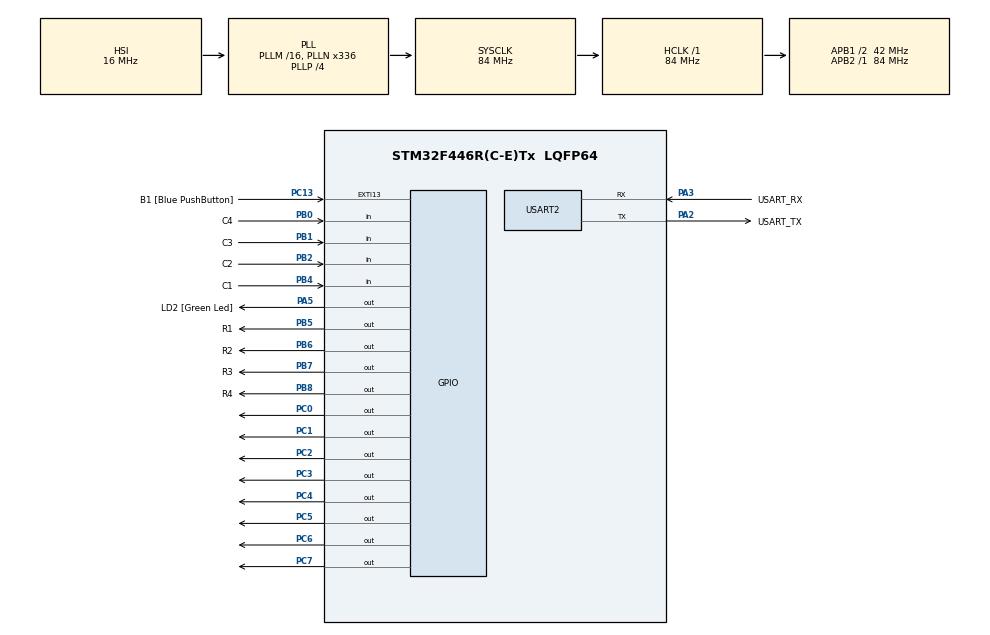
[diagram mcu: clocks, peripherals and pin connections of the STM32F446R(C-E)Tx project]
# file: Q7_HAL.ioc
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Mcu.Family=STM32F4
Mcu.Name=STM32F446R(C-E)Tx
Mcu.Package=LQFP64
NVIC.PriorityGroup=NVIC_PRIORITYGROUP_0
PA13.GPIO_Label=TMS
PA13.Mode=Serial_Wire
PA13.Signal=SYS_JTMS-SWDIO
PA14.GPIO_Label=TCK
PA14.Mode=Serial_Wire
PA14.Signal=SYS_JTCK-SWCLK
PA2.GPIO_Label=USART_TX
PA2.Mode=Asynchronous
PA2.Signal=USART2_TX
PA3.GPIO_Label=USART_RX
PA3.Mode=Asynchronous
PA3.Signal=USART2_RX
PA5.GPIO_Label=LD2 [Green Led]
PA5.Signal=GPIO_Output
PB0.GPIO_Label=C4
PB0.GPIO_PuPd=GPIO_PULLUP
PB0.Signal=GPIO_Input
PB1.GPIO_Label=C3
PB1.GPIO_PuPd=GPIO_PULLUP
PB1.Signal=GPIO_Input
PB2.GPIO_Label=C2
PB2.GPIO_PuPd=GPIO_PULLUP
PB2.Signal=GPIO_Input
PB3.Signal=SYS_JTDO-SWO
PB4.GPIO_Label=C1
PB4.GPIO_PuPd=GPIO_PULLUP
PB4.Signal=GPIO_Input
PB5.GPIO_Label=R1
PB5.Signal=GPIO_Output
PB6.GPIO_Label=R2
PB6.Signal=GPIO_Output
PB7.GPIO_Label=R3
PB7.Signal=GPIO_Output
PB8.GPIO_Label=R4
PB8.Signal=GPIO_Output
PC0.Signal=GPIO_Output
PC1.Signal=GPIO_Output
PC13.GPIO_Label=B1 [Blue PushButton]
PC13.GPIO_ModeDefaultEXTI=GPIO_MODE_IT_FALLING
PC13.Signal=GPXTI13
PC14-OSC32_IN.Mode=LSE-External-Oscillator
PC14-OSC32_IN.Signal=RCC_OSC32_IN
PC15-OSC32_OUT.Mode=LSE-External-Oscillator
PC15-OSC32_OUT.Signal=RCC_OSC32_OUT
PC2.Signal=GPIO_Output
PC3.Signal=GPIO_Output
PC4.Signal=GPIO_Output
PC5.Signal=GPIO_Output
PC6.Signal=GPIO_Output
PC7.Signal=GPIO_Output
PH0-OSC_IN.Mode=HSE-External-Oscillator
PH0-OSC_IN.Signal=RCC_OSC_IN
PH1-OSC_OUT.Mode=HSE-External-Oscillator
PH1-OSC_OUT.Signal=RCC_OSC_OUT
ProjectManager.HeapSize=0x200
ProjectManager.StackSize=0x400
ProjectManager.TargetToolchain=STM32CubeIDE
RCC.48MHZClocksFreq_Value=84000000
RCC.AHBFreq_Value=84000000
RCC.APB1CLKDivider=RCC_HCLK_DIV2
RCC.APB1Freq_Value=42000000
RCC.APB1TimFreq_Value=84000000
RCC.APB2Freq_Value=84000000
RCC.APB2TimFreq_Value=84000000
RCC.CortexFreq_Value=84000000
RCC.FLatency-AdvancedSettings=FLASH_LATENCY_2
RCC.HCLKFreq_Value=84000000
RCC.HSE_VALUE=8000000
RCC.HSI_VALUE=16000000
RCC.PLLN=336
RCC.PLLP=RCC_PLLP_DIV4
RCC.SYSCLKFreq_VALUE=84000000
RCC.SYSCLKSource=RCC_SYSCLKSOURCE_PLLCLK
RCC.USBFreq_Value=168000000
RCC.VCOOutputFreq_Value=336000000
USART2.VirtualMode=VM_ASYNC
board=NUCLEO-F446RE

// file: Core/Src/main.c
/* USER CODE BEGIN Header */
/**
  ******************************************************************************
  * @file           : main.c
  * @brief          : Main program body
  ******************************************************************************
  * @attention
  *
  * Copyright (c) 2024 STMicroelectronics.
  * All rights reserved.
  *
  * This software is licensed under terms that can be found in the LICENSE file
  * in the root directory of this software component.
  * If no LICENSE file comes with this software, it is provided AS-IS.
  *
  ******************************************************************************
  */
/* USER CODE END Header */
#include "main.h"

UART_HandleTypeDef huart2;

void SystemClock_Config(void);
static void MX_GPIO_Init(void);
static void MX_USART2_UART_Init(void);

void blink(int key)
{
	for (int var = 0; var < 2*key; ++var)
	{
		HAL_GPIO_TogglePin(LD2_GPIO_Port, LD2_Pin);
		HAL_Delay(300);
	}
}
int main(void)
{

  /* MCU Configuration--------------------------------------------------------*/

  /* Reset of all peripherals, Initializes the Flash interface and the Systick. */
  HAL_Init();

  /* Configure the system clock */
  SystemClock_Config();

  /* Initialize all configured peripherals */
  MX_GPIO_Init();
  MX_USART2_UART_Init();
  /* USER CODE BEGIN 2 */
void seven_Seg(int key)
{
	switch (key) {
		  		case 0 :
		  		  HAL_GPIO_WritePin(GPIOC, GPIO_PIN_0, SET);
		  		  HAL_GPIO_WritePin(GPIOC, GPIO_PIN_1, SET);
		  		  HAL_GPIO_WritePin(GPIOC, GPIO_PIN_2, SET);
		  		  HAL_GPIO_WritePin(GPIOC, GPIO_PIN_3, SET);
		  		  HAL_GPIO_WritePin(GPIOC, GPIO_PIN_4, SET);
		  		  HAL_GPIO_WritePin(GPIOC, GPIO_PIN_5, SET);
		  		  HAL_GPIO_WritePin(GPIOC, GPIO_PIN_6, RESET);
		  			break;
		  		case 1 :
		  		  HAL_GPIO_WritePin(GPIOC, GPIO_PIN_0, RESET);
		  		  HAL_GPIO_WritePin(GPIOC, GPIO_PIN_1, SET);
		  		  HAL_GPIO_WritePin(GPIOC, GPIO_PIN_2, SET);
		  		  HAL_GPIO_WritePin(GPIOC, GPIO_PIN_3, RESET);
		  		  HAL_GPIO_WritePin(GPIOC, GPIO_PIN_4, RESET);
		  		  HAL_GPIO_WritePin(GPIOC, GPIO_PIN_5, RESET);
		  		  HAL_GPIO_WritePin(GPIOC, GPIO_PIN_6, RESET);
		  		  HAL_GPIO_WritePin(GPIOC, GPIO_PIN_7, RESET);
		  			break;
		  		case 2:
		  		  HAL_GPIO_WritePin(GPIOC, GPIO_PIN_0, SET);
		  		  HAL_GPIO_WritePin(GPIOC, GPIO_PIN_1, SET);
		  		  HAL_GPIO_WritePin(GPIOC, GPIO_PIN_2, RESET);
		  		  HAL_GPIO_WritePin(GPIOC, GPIO_PIN_3, SET);
		  		  HAL_GPIO_WritePin(GPIOC, GPIO_PIN_4, SET);
		  		  HAL_GPIO_WritePin(GPIOC, GPIO_PIN_5, RESET);
		  		  HAL_GPIO_WritePin(GPIOC, GPIO_PIN_6, SET);
		  		  HAL_GPIO_WritePin(GPIOC, GPIO_PIN_7, SET);

		  			break;
		  		case 3:
		  		  HAL_GPIO_WritePin(GPIOC, GPIO_PIN_0, SET);
		  		  HAL_GPIO_WritePin(GPIOC, GPIO_PIN_1, SET);
		  		  HAL_GPIO_WritePin(GPIOC, GPIO_PIN_2, SET);
		  		  HAL_GPIO_WritePin(GPIOC, GPIO_PIN_3, SET);
		  		  HAL_GPIO_WritePin(GPIOC, GPIO_PIN_4, RESET);
		  		  HAL_GPIO_WritePin(GPIOC, GPIO_PIN_5, RESET);
		  		  HAL_GPIO_WritePin(GPIOC, GPIO_PIN_6, SET);
		  		  HAL_GPIO_WritePin(GPIOC, GPIO_PIN_7, SET);
		  			break;
		  		case 4:
		  			 HAL_GPIO_WritePin(GPIOC, GPIO_PIN_0, RESET);
		  			 HAL_GPIO_WritePin(GPIOC, GPIO_PIN_1, SET);
		  			 HAL_GPIO_WritePin(GPIOC, GPIO_PIN_2, SET);
		  			 HAL_GPIO_WritePin(GPIOC, GPIO_PIN_3, RESET);
		  			 HAL_GPIO_WritePin(GPIOC, GPIO_PIN_4, RESET);
		  			 HAL_GPIO_WritePin(GPIOC, GPIO_PIN_5, SET);
		  			 HAL_GPIO_WritePin(GPIOC, GPIO_PIN_6, SET);
		  			 HAL_GPIO_WritePin(GPIOC, GPIO_PIN_7, SET);

		  			break;
		  		case 5:
		  		  HAL_GPIO_WritePin(GPIOC, GPIO_PIN_0, SET);
		  		  HAL_GPIO_WritePin(GPIOC, GPIO_PIN_1, RESET);
		  		  HAL_GPIO_WritePin(GPIOC, GPIO_PIN_2, SET);
		  		  HAL_GPIO_WritePin(GPIOC, GPIO_PIN_3, SET);
		  		  HAL_GPIO_WritePin(GPIOC, GPIO_PIN_4, RESET);
		  		  HAL_GPIO_WritePin(GPIOC, GPIO_PIN_5, SET);
		  		  HAL_GPIO_WritePin(GPIOC, GPIO_PIN_6, SET);
		  		  HAL_GPIO_WritePin(GPIOC, GPIO_PIN_7, SET);

		  			break;
		  		case 6:
		  		  HAL_GPIO_WritePin(GPIOC, GPIO_PIN_0, SET);
		  		  HAL_GPIO_WritePin(GPIOC, GPIO_PIN_1, RESET);
		  		  HAL_GPIO_WritePin(GPIOC, GPIO_PIN_2, SET);
		  		  HAL_GPIO_WritePin(GPIOC, GPIO_PIN_3, SET);
		  		  HAL_GPIO_WritePin(GPIOC, GPIO_PIN_4, SET);
		  		  HAL_GPIO_WritePin(GPIOC, GPIO_PIN_5, SET);
		  		  HAL_GPIO_WritePin(GPIOC, GPIO_PIN_6, SET);
		  		  HAL_GPIO_WritePin(GPIOC, GPIO_PIN_7, SET);
		  			break;
		  		case 7:
		  			HAL_GPIO_WritePin(GPIOC, GPIO_PIN_0, SET);
		  			HAL_GPIO_WritePin(GPIOC, GPIO_PIN_1, SET);
		  			HAL_GPIO_WritePin(GPIOC, GPIO_PIN_2, SET);
		  			HAL_GPIO_WritePin(GPIOC, GPIO_PIN_3, RESET);
		  			HAL_GPIO_WritePin(GPIOC, GPIO_PIN_4, RESET);
		  			HAL_GPIO_WritePin(GPIOC, GPIO_PIN_5, RESET);
		  			HAL_GPIO_WritePin(GPIOC, GPIO_PIN_6, RESET);
		  			HAL_GPIO_WritePin(GPIOC, GPIO_PIN_7, SET);
		  			break;
		  		case 8:
		  		  HAL_GPIO_WritePin(GPIOC, GPIO_PIN_0, SET);
		  		  HAL_GPIO_WritePin(GPIOC, GPIO_PIN_1, SET);
		  		  HAL_GPIO_WritePin(GPIOC, GPIO_PIN_2, SET);
		  		  HAL_GPIO_WritePin(GPIOC, GPIO_PIN_3, SET);
		  		  HAL_GPIO_WritePin(GPIOC, GPIO_PIN_4, SET);
		  		  HAL_GPIO_WritePin(GPIOC, GPIO_PIN_5, SET);
		  		  HAL_GPIO_WritePin(GPIOC, GPIO_PIN_6, SET);
		  		  HAL_GPIO_WritePin(GPIOC, GPIO_PIN_7, SET);

		  			break;
		  		case 9:
		  			 HAL_GPIO_WritePin(GPIOC, GPIO_PIN_0, SET);
		  			 HAL_GPIO_WritePin(GPIOC, GPIO_PIN_1, SET);
		  			 HAL_GPIO_WritePin(GPIOC, GPIO_PIN_2, SET);
		  			 HAL_GPIO_WritePin(GPIOC, GPIO_PIN_3, SET);
		  			 HAL_GPIO_WritePin(GPIOC, GPIO_PIN_4, RESET);
		  			 HAL_GPIO_WritePin(GPIOC, GPIO_PIN_5, SET);
		  			 HAL_GPIO_WritePin(GPIOC, GPIO_PIN_6, SET);
		  			 HAL_GPIO_WritePin(GPIOC, GPIO_PIN_7, SET);

		  			break;
		  		default:
		  			HAL_GPIO_WritePin(GPIOC, GPIO_PIN_7, SET);
		  			break;
		  	}
}

  /* USER CODE END 2 */

  /* Infinite loop */
  while (1)
  {
	  HAL_GPIO_WritePin(GPIOB, R1_Pin, SET);
	  HAL_GPIO_WritePin(GPIOB, R2_Pin, SET);
	  HAL_GPIO_WritePin(GPIOB, R3_Pin, SET);
	  HAL_GPIO_WritePin(GPIOB, R4_Pin, SET);

	  HAL_GPIO_WritePin(GPIOB, R4_Pin, RESET);
	  if(!HAL_GPIO_ReadPin(GPIOB, C4_Pin))
	  {
		  seven_Seg(1);
		  blink(1);
		  HAL_Delay(200);
	  }
	  if(!HAL_GPIO_ReadPin(GPIOB, C3_Pin))
	  {
		  blink(2);
		  seven_Seg(2);
		  HAL_Delay(200);
	  }
	  if(!HAL_GPIO_ReadPin(GPIOB, C2_Pin))
	  {
		  blink(3);
		  seven_Seg(3);
		  HAL_Delay(200);
	  }
	  if(!HAL_GPIO_ReadPin(GPIOB, C1_Pin))
	  {
		  blink(1);
		  seven_Seg(1);
		  HAL_Delay(200);
	  }
	  HAL_GPIO_WritePin(GPIOB, R4_Pin, SET);

	  HAL_GPIO_WritePin(GPIOB, R3_Pin, RESET);
	  if(!HAL_GPIO_ReadPin(GPIOB, C4_Pin))
	  {
		  blink(4);
		  seven_Seg(4);
		  HAL_Delay(200);
	  }
	  if(!HAL_GPIO_ReadPin(GPIOB, C3_Pin))
	  {
		  blink(5);
		  seven_Seg(5);
		  HAL_Delay(200);
	  }
	  if(!HAL_GPIO_ReadPin(GPIOB, C2_Pin))
	  {
		  blink(6);
		  seven_Seg(6);
		  HAL_Delay(200);
	  }
	  if(!HAL_GPIO_ReadPin(GPIOB, C1_Pin))
	  {
		  blink(4);
		  seven_Seg(4);
		  HAL_Delay(200);
	  }
	  HAL_GPIO_WritePin(GPIOB, R3_Pin, SET);

	  HAL_GPIO_WritePin(GPIOB, R2_Pin, RESET);
	  if(!HAL_GPIO_ReadPin(GPIOB, C4_Pin))
	  {
		  blink(7);
		  seven_Seg(7);
		  HAL_Delay(200);
	  }
	  if(!HAL_GPIO_ReadPin(GPIOB, C3_Pin))
	  {
		  blink(8);
		  seven_Seg(8);
		  HAL_Delay(200);
	  }
	  if(!HAL_GPIO_ReadPin(GPIOB, C2_Pin))
	  {
		  blink(9);
		  seven_Seg(9);
		  HAL_Delay(200);
	  }
	  if(!HAL_GPIO_ReadPin(GPIOB, C1_Pin))
	  {
		  blink(7);
		  seven_Seg(7);
		  HAL_Delay(200);
	  }
	  HAL_GPIO_WritePin(GPIOB, R2_Pin, SET);

	  HAL_GPIO_WritePin(GPIOB, R1_Pin, RESET);
	  if(!HAL_GPIO_ReadPin(GPIOB, C4_Pin))
	  {
		  blink(0);
		  seven_Seg(0);
		  HAL_Delay(200);
	  }
	  if(!HAL_GPIO_ReadPin(GPIOB, C3_Pin))
	  {
		  seven_Seg(0);
		  HAL_Delay(200);
	  }
	  if(!HAL_GPIO_ReadPin(GPIOB, C2_Pin))
	  {
		  seven_Seg(0);
		  HAL_Delay(200);
	  }
	  if(!HAL_GPIO_ReadPin(GPIOB, C1_Pin))
	  {
		  seven_Seg(0);
		  HAL_Delay(200);
	  }
	  HAL_GPIO_WritePin(GPIOB, R1_Pin, SET);
  }
}

void SystemClock_Config(void)
{
  RCC_OscInitTypeDef RCC_OscInitStruct = {0};
  RCC_ClkInitTypeDef RCC_ClkInitStruct = {0};

  /** Configure the main internal regulator output voltage
  */
  __HAL_RCC_PWR_CLK_ENABLE();
  __HAL_PWR_VOLTAGESCALING_CONFIG(PWR_REGULATOR_VOLTAGE_SCALE3);

  /** Initializes the RCC Oscillators according to the specified parameters
  * in the RCC_OscInitTypeDef structure.
  */
  RCC_OscInitStruct.OscillatorType = RCC_OSCILLATORTYPE_HSI;
  RCC_OscInitStruct.HSIState = RCC_HSI_ON;
  RCC_OscInitStruct.HSICalibrationValue = RCC_HSICALIBRATION_DEFAULT;
  RCC_OscInitStruct.PLL.PLLState = RCC_PLL_ON;
  RCC_OscInitStruct.PLL.PLLSource = RCC_PLLSOURCE_HSI;
  RCC_OscInitStruct.PLL.PLLM = 16;
  RCC_OscInitStruct.PLL.PLLN = 336;
  RCC_OscInitStruct.PLL.PLLP = RCC_PLLP_DIV4;
  RCC_OscInitStruct.PLL.PLLQ = 2;
  RCC_OscInitStruct.PLL.PLLR = 2;
  if (HAL_RCC_OscConfig(&RCC_OscInitStruct) != HAL_OK)
  {
    Error_Handler();
  }

  /** Initializes the CPU, AHB and APB buses clocks
  */
  RCC_ClkInitStruct.ClockType = RCC_CLOCKTYPE_HCLK|RCC_CLOCKTYPE_SYSCLK
                              |RCC_CLOCKTYPE_PCLK1|RCC_CLOCKTYPE_PCLK2;
  RCC_ClkInitStruct.SYSCLKSource = RCC_SYSCLKSOURCE_PLLCLK;
  RCC_ClkInitStruct.AHBCLKDivider = RCC_SYSCLK_DIV1;
  RCC_ClkInitStruct.APB1CLKDivider = RCC_HCLK_DIV2;
  RCC_ClkInitStruct.APB2CLKDivider = RCC_HCLK_DIV1;

  if (HAL_RCC_ClockConfig(&RCC_ClkInitStruct, FLASH_LATENCY_2) != HAL_OK)
  {
    Error_Handler();
  }
}

static void MX_USART2_UART_Init(void)
{

  huart2.Instance = USART2;
  huart2.Init.BaudRate = 115200;
  huart2.Init.WordLength = UART_WORDLENGTH_8B;
  huart2.Init.StopBits = UART_STOPBITS_1;
  huart2.Init.Parity = UART_PARITY_NONE;
  huart2.Init.Mode = UART_MODE_TX_RX;
  huart2.Init.HwFlowCtl = UART_HWCONTROL_NONE;
  huart2.Init.OverSampling = UART_OVERSAMPLING_16;
  if (HAL_UART_Init(&huart2) != HAL_OK)
  {
    Error_Handler();
  }

}

static void MX_GPIO_Init(void)
{
  GPIO_InitTypeDef GPIO_InitStruct = {0};

  /* GPIO Ports Clock Enable */
  __HAL_RCC_GPIOC_CLK_ENABLE();
  __HAL_RCC_GPIOH_CLK_ENABLE();
  __HAL_RCC_GPIOA_CLK_ENABLE();
  __HAL_RCC_GPIOB_CLK_ENABLE();

  /*Configure GPIO pin Output Level */
  HAL_GPIO_WritePin(GPIOC, GPIO_PIN_0|GPIO_PIN_1|GPIO_PIN_2|GPIO_PIN_3
                          |GPIO_PIN_4|GPIO_PIN_5|GPIO_PIN_6|GPIO_PIN_7, GPIO_PIN_RESET);

  /*Configure GPIO pin Output Level */
  HAL_GPIO_WritePin(LD2_GPIO_Port, LD2_Pin, GPIO_PIN_RESET);

  /*Configure GPIO pin Output Level */
  HAL_GPIO_WritePin(GPIOB, R1_Pin|R2_Pin|R3_Pin|R4_Pin, GPIO_PIN_RESET);

  /*Configure GPIO pin : B1_Pin */
  GPIO_InitStruct.Pin = B1_Pin;
  GPIO_InitStruct.Mode = GPIO_MODE_IT_FALLING;
  GPIO_InitStruct.Pull = GPIO_NOPULL;
  HAL_GPIO_Init(B1_GPIO_Port, &GPIO_InitStruct);

  /*Configure GPIO pins : PC0 PC1 PC2 PC3
                           PC4 PC5 PC6 PC7 */
  GPIO_InitStruct.Pin = GPIO_PIN_0|GPIO_PIN_1|GPIO_PIN_2|GPIO_PIN_3
                          |GPIO_PIN_4|GPIO_PIN_5|GPIO_PIN_6|GPIO_PIN_7;
  GPIO_InitStruct.Mode = GPIO_MODE_OUTPUT_PP;
  GPIO_InitStruct.Pull = GPIO_NOPULL;
  GPIO_InitStruct.Speed = GPIO_SPEED_FREQ_LOW;
  HAL_GPIO_Init(GPIOC, &GPIO_InitStruct);

  /*Configure GPIO pin : LD2_Pin */
  GPIO_InitStruct.Pin = LD2_Pin;
  GPIO_InitStruct.Mode = GPIO_MODE_OUTPUT_PP;
  GPIO_InitStruct.Pull = GPIO_NOPULL;
  GPIO_InitStruct.Speed = GPIO_SPEED_FREQ_LOW;
  HAL_GPIO_Init(LD2_GPIO_Port, &GPIO_InitStruct);

  /*Configure GPIO pins : C4_Pin C3_Pin C2_Pin C1_Pin */
  GPIO_InitStruct.Pin = C4_Pin|C3_Pin|C2_Pin|C1_Pin;
  GPIO_InitStruct.Mode = GPIO_MODE_INPUT;
  GPIO_InitStruct.Pull = GPIO_PULLUP;
  HAL_GPIO_Init(GPIOB, &GPIO_InitStruct);

  /*Configure GPIO pins : R1_Pin R2_Pin R3_Pin R4_Pin */
  GPIO_InitStruct.Pin = R1_Pin|R2_Pin|R3_Pin|R4_Pin;
  GPIO_InitStruct.Mode = GPIO_MODE_OUTPUT_PP;
  GPIO_InitStruct.Pull = GPIO_NOPULL;
  GPIO_InitStruct.Speed = GPIO_SPEED_FREQ_LOW;
  HAL_GPIO_Init(GPIOB, &GPIO_InitStruct);

}

void Error_Handler(void)
{
  __disable_irq();
  while (1)
  {
  }
}
